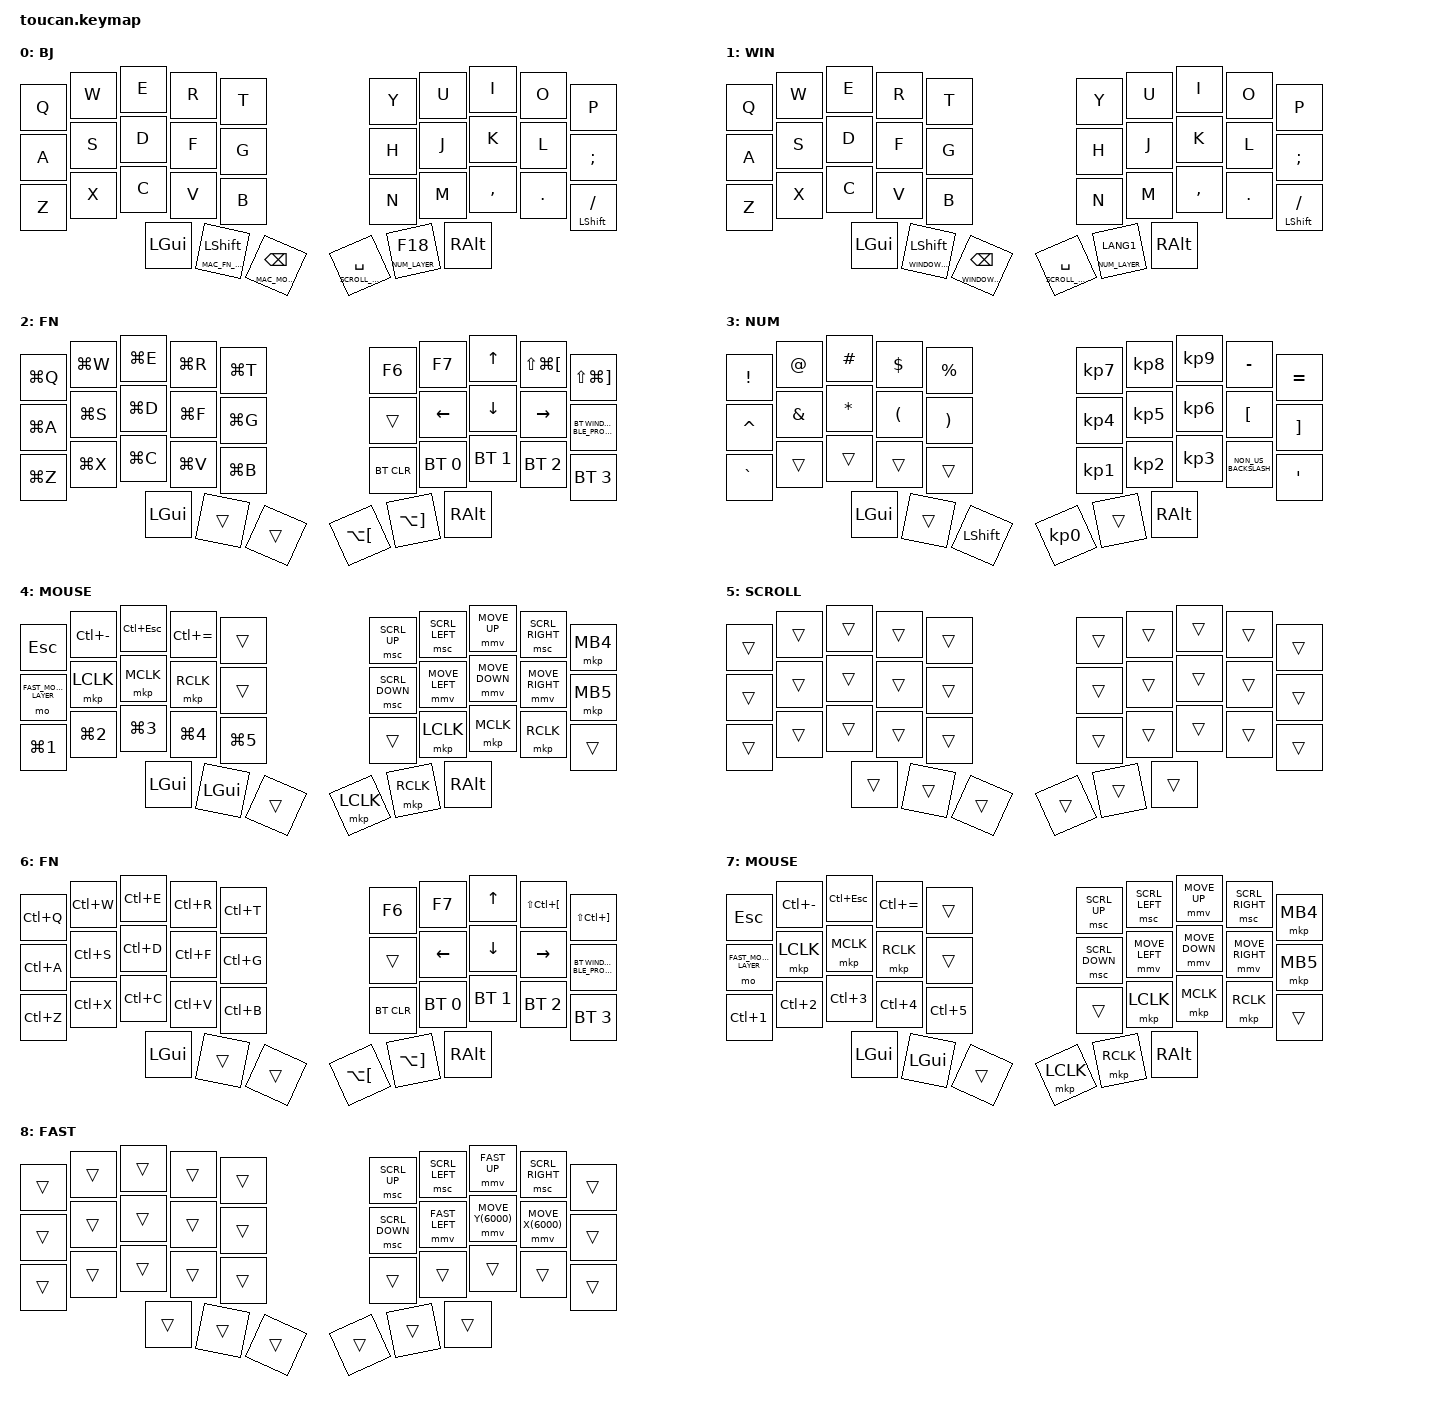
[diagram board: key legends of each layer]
// Mouse tuning values must be defined before the ZMK headers.
#define ZMK_POINTING_DEFAULT_MOVE_VAL 3500
#define ZMK_POINTING_DEFAULT_SCRL_VAL 15
#define FAST_UP    MOVE_Y(-6000)
#define FAST_DOWN  MOVE_Y(6000)
#define FAST_LEFT  MOVE_X(-6000)
#define FAST_RIGHT MOVE_X(6000)

#include <behaviors.dtsi>
#include <dt-bindings/zmk/bt.h>
#include <dt-bindings/zmk/keys.h>
#include <dt-bindings/zmk/pointing.h>

#define MAC_BASE_LAYER       0
#define WINDOWS_BASE_LAYER   1
#define MAC_FN_LAYER         2
#define NUM_LAYER            3
#define MAC_MOUSE_LAYER      4
#define SCROLL_LAYER         5
#define WINDOWS_FN_LAYER     6
#define WINDOWS_MOUSE_LAYER  7
#define FAST_MOUSE_LAYER     8

#define WINDOWS_BLE_PROFILE  4

&mmv {
    trigger-period-ms = <5>;
    acceleration-exponent = <1>;
    time-to-max-speed-ms = <400>;
    delay-ms = <0>;
};

&msc {
    trigger-period-ms = <8>;
    acceleration-exponent = <0>;
    time-to-max-speed-ms = <120>;
    delay-ms = <0>;
};

&mt {
    flavor = "balanced";
    tapping-term-ms = <180>;
    quick-tap-ms = <150>;
    require-prior-idle-ms = <125>;
};

/ {
    behaviors {
        lt_sk: layer_tap_sticky {
            compatible = "zmk,behavior-hold-tap";
            #binding-cells = <2>;
            tapping-term-ms = <200>;
            quick-tap-ms = <175>;
            flavor = "balanced";
            bindings = <&mo>, <&sk>;
        };

        lt_bspc: layer_tap_backspace {
            compatible = "zmk,behavior-hold-tap";
            #binding-cells = <2>;
            tapping-term-ms = <200>;
            quick-tap-ms = <200>;
            flavor = "tap-preferred";
            bindings = <&mo>, <&kp>;
        };
    };

    macros {
        mc_vim_save: mc_vim_save {
            compatible = "zmk,behavior-macro";
            #binding-cells = <0>;
            wait-ms = <10>;
            tap-ms = <10>;
            bindings = <&kp COLON &kp W &kp ENTER>;
        };

        mc_vim_qa: mc_vim_qa {
            compatible = "zmk,behavior-macro";
            #binding-cells = <0>;
            wait-ms = <10>;
            tap-ms = <10>;
            bindings = <&kp COLON &kp Q &kp A &kp ENTER>;
        };
    };

    /*
     * 36-key layout: 3x5 per half plus 3 thumbs per half.
     * Main key positions match the source cradio layout.
     */
    combos {
        compatible = "zmk,combos";

        combo_tab {
            timeout-ms = <50>;
            key-positions = <0 1>;
            bindings = <&kp TAB>;
        };

        combo_shift_tab {
            timeout-ms = <60>;
            key-positions = <1 2>;
            bindings = <&kp LS(TAB)>;
        };

        combo_enter {
            timeout-ms = <40>;
            key-positions = <16 18>;
            bindings = <&kp ENTER>;
        };

        AS_LCTRL {
            timeout-ms = <30>;
            layers = <MAC_BASE_LAYER WINDOWS_BASE_LAYER>;
            bindings = <&kp LCTRL>;
            key-positions = <10 11>;
        };

        SD_LGUI {
            timeout-ms = <30>;
            layers = <MAC_BASE_LAYER WINDOWS_BASE_LAYER>;
            bindings = <&kp LGUI>;
            key-positions = <11 12>;
        };

        DF_LSHFT {
            timeout-ms = <30>;
            layers = <MAC_BASE_LAYER WINDOWS_BASE_LAYER>;
            bindings = <&kp LSHFT>;
            key-positions = <12 13>;
        };

        FG_LALT {
            timeout-ms = <30>;
            layers = <MAC_BASE_LAYER WINDOWS_BASE_LAYER>;
            bindings = <&kp LALT>;
            key-positions = <13 14>;
        };

        JK_RCTRL {
            timeout-ms = <30>;
            layers = <MAC_BASE_LAYER WINDOWS_BASE_LAYER>;
            bindings = <&kp LCTRL>;
            key-positions = <16 17>;
        };

        KL_RGUI {
            timeout-ms = <30>;
            layers = <MAC_BASE_LAYER WINDOWS_BASE_LAYER>;
            bindings = <&kp LGUI>;
            key-positions = <17 18>;
        };

        LL_RSHFT {
            timeout-ms = <30>;
            layers = <MAC_BASE_LAYER WINDOWS_BASE_LAYER>;
            bindings = <&kp LSHFT>;
            key-positions = <18 19>;
        };

        combo_enter_nm {
            timeout-ms = <40>;
            layers = <MAC_BASE_LAYER WINDOWS_BASE_LAYER>;
            key-positions = <25 26>;
            bindings = <&kp ENTER>;
        };

        combo_vim_save {
            timeout-ms = <40>;
            layers = <MAC_BASE_LAYER WINDOWS_BASE_LAYER>;
            key-positions = <24 25>;
            bindings = <&mc_vim_save>;
        };

        combo_vim_qa {
            timeout-ms = <40>;
            layers = <MAC_BASE_LAYER WINDOWS_BASE_LAYER>;
            key-positions = <23 26>;
            bindings = <&mc_vim_qa>;
        };

        combo_screenshot {
            timeout-ms = <60>;
            layers = <MAC_BASE_LAYER>;
            key-positions = <1 2 3>;
            bindings = <&kp LG(LC(LS(N4)))>;
        };

        combo_screenshot_windows {
            timeout-ms = <60>;
            layers = <WINDOWS_BASE_LAYER>;
            key-positions = <1 2 3>;
            bindings = <&kp LG(LS(S))>;
        };

        combo_esc_wr {
            timeout-ms = <50>;
            layers = <MAC_BASE_LAYER WINDOWS_BASE_LAYER>;
            key-positions = <1 3>;
            bindings = <&kp ESC>;
        };

        combo_esc_rt {
            timeout-ms = <50>;
            layers = <MAC_BASE_LAYER WINDOWS_BASE_LAYER>;
            key-positions = <3 4>;
            bindings = <&kp ESC>;
        };

        combo_esc_yu {
            timeout-ms = <50>;
            layers = <MAC_BASE_LAYER WINDOWS_BASE_LAYER>;
            key-positions = <5 6>;
            bindings = <&kp ESC>;
        };

        combo_enter_vb {
            timeout-ms = <40>;
            layers = <MAC_BASE_LAYER WINDOWS_BASE_LAYER>;
            key-positions = <23 24>;
            bindings = <&kp ENTER>;
        };

        combo_caps_lock {
            timeout-ms = <60>;
            layers = <MAC_BASE_LAYER WINDOWS_BASE_LAYER>;
            key-positions = <20 21 22>;
            bindings = <&kp CAPSLOCK>;
        };

        combo_hold_cmd_shift {
            timeout-ms = <60>;
            layers = <MAC_BASE_LAYER>;
            key-positions = <16 17 18>;
            bindings = <&kp LS(LGUI)>;
        };

        combo_hold_ctrl_shift_windows {
            timeout-ms = <60>;
            layers = <WINDOWS_BASE_LAYER>;
            key-positions = <16 17 18>;
            bindings = <&kp LS(LCTRL)>;
        };

        chrome_developer_tool {
            layers = <MAC_BASE_LAYER>;
            bindings = <&kp LG(LA(I))>;
            key-positions = <27 28 29>;
        };

        chrome_developer_tool_windows {
            layers = <WINDOWS_BASE_LAYER>;
            bindings = <&kp LC(LS(I))>;
            key-positions = <27 28 29>;
        };
    };

    keymap {
        compatible = "zmk,keymap";

        default_layer {
            display-name = "BJ";
            bindings = <
&kp Q  &kp W  &kp E  &kp R           &kp T                   &kp Y      &kp U      &kp I      &kp O    &kp P
&kp A  &kp S  &kp D  &kp F           &kp G                   &kp H      &kp J      &kp K      &kp L    &kp SEMI
&kp Z  &kp X  &kp C  &kp V           &kp B                   &kp N      &kp M      &kp COMMA  &kp DOT  &mt LSHFT FSLH
              &kp LGUI  &lt_sk MAC_FN_LAYER LSHFT  &lt_bspc MAC_MOUSE_LAYER BACKSPACE    &lt SCROLL_LAYER SPACE  &lt NUM_LAYER F18  &kp RALT
            >;
        };

        windows_layer {
            display-name = "WIN";
            bindings = <
&kp Q  &kp W  &kp E  &kp R           &kp T                   &kp Y      &kp U      &kp I      &kp O    &kp P
&kp A  &kp S  &kp D  &kp F           &kp G                   &kp H      &kp J      &kp K      &kp L    &kp SEMI
&kp Z  &kp X  &kp C  &kp V           &kp B                   &kp N      &kp M      &kp COMMA  &kp DOT  &mt LSHFT FSLH
              &kp LGUI  &lt_sk WINDOWS_FN_LAYER LSHFT  &lt_bspc WINDOWS_MOUSE_LAYER BACKSPACE    &lt SCROLL_LAYER SPACE  &lt NUM_LAYER LANG1  &kp RALT
            >;
        };

        fn_layer {
            display-name = "FN";
            bindings = <
&kp LG(Q)  &kp LG(W)  &kp LG(E)  &kp LG(R)  &kp LG(T)    &kp F6      &kp F7        &kp UP_ARROW  &kp LS(LG(LBKT))  &kp LS(LG(RBKT))
&kp LG(A)  &kp LG(S)  &kp LG(D)  &kp LG(F)  &kp LG(G)    &trans      &kp LEFT      &kp DOWN      &kp RIGHT         &bt BT_SEL WINDOWS_BLE_PROFILE
&kp LG(Z)  &kp LG(X)  &kp LG(C)  &kp LG(V)  &kp LG(B)    &bt BT_CLR  &bt BT_SEL 0  &bt BT_SEL 1  &bt BT_SEL 2      &bt BT_SEL 3
                      &kp LGUI   &trans     &trans       &kp LA(LBKT)  &kp LA(RBKT)  &kp RALT
            >;
        };

        num_layer {
            display-name = "NUM";
            bindings = <
&kp EXCL   &kp AT         &kp HASH      &kp DLLR              &kp PRCNT                &kp KP_NUMBER_7  &kp KP_NUMBER_8  &kp KP_NUMBER_9  &kp MINUS             &kp EQUAL
&kp CARET  &kp AMPERSAND  &kp ASTERISK  &kp LEFT_PARENTHESIS  &kp RIGHT_PARENTHESIS    &kp KP_NUMBER_4  &kp KP_NUMBER_5  &kp KP_NUMBER_6  &kp LEFT_BRACKET      &kp RIGHT_BRACKET
&kp GRAVE  &trans         &trans        &trans                &trans                   &kp KP_NUMBER_1  &kp KP_NUMBER_2  &kp KP_NUMBER_3  &kp NON_US_BACKSLASH  &kp SINGLE_QUOTE
                         &kp LGUI      &trans                &kp LEFT_SHIFT           &kp KP_NUMBER_0  &trans              &kp RALT
            >;
        };

        mouse_layer {
            display-name = "MOUSE";
            bindings = <
&kp ESC     &kp LC(MINUS)  &kp LC(ESCAPE)  &kp LC(EQUAL)  &trans       &msc SCRL_UP    &msc SCRL_LEFT  &mmv MOVE_UP    &msc SCRL_RIGHT  &mkp MB4
&mo FAST_MOUSE_LAYER  &mkp LCLK      &mkp MCLK       &mkp RCLK      &trans       &msc SCRL_DOWN  &mmv MOVE_LEFT  &mmv MOVE_DOWN  &mmv MOVE_RIGHT  &mkp MB5
&kp LG(N1)  &kp LG(N2)     &kp LG(N3)      &kp LG(N4)     &kp LG(N5)   &trans          &mkp LCLK       &mkp MCLK       &mkp RCLK        &trans
                          &kp LGUI        &kp LGUI       &trans       &mkp LCLK       &mkp RCLK       &kp RALT
            >;
        };

        scroll_layer {
            display-name = "SCROLL";
            bindings = <
&trans  &trans  &trans  &trans  &trans    &trans  &trans  &trans  &trans  &trans
&trans  &trans  &trans  &trans  &trans    &trans  &trans  &trans  &trans  &trans
&trans  &trans  &trans  &trans  &trans    &trans  &trans  &trans  &trans  &trans
                &trans  &trans  &trans    &trans  &trans  &trans
            >;
        };

        windows_fn_layer {
            display-name = "FN";
            bindings = <
&kp LC(Q)  &kp LC(W)  &kp LC(E)  &kp LC(R)  &kp LC(T)    &kp F6      &kp F7        &kp UP_ARROW  &kp LS(LC(LBKT))  &kp LS(LC(RBKT))
&kp LC(A)  &kp LC(S)  &kp LC(D)  &kp LC(F)  &kp LC(G)    &trans      &kp LEFT      &kp DOWN      &kp RIGHT         &bt BT_SEL WINDOWS_BLE_PROFILE
&kp LC(Z)  &kp LC(X)  &kp LC(C)  &kp LC(V)  &kp LC(B)    &bt BT_CLR  &bt BT_SEL 0  &bt BT_SEL 1  &bt BT_SEL 2      &bt BT_SEL 3
                      &kp LGUI   &trans     &trans       &kp LA(LBKT)  &kp LA(RBKT)  &kp RALT
            >;
        };

        windows_mouse_layer {
            display-name = "MOUSE";
            bindings = <
&kp ESC     &kp LC(MINUS)  &kp LC(ESCAPE)  &kp LC(EQUAL)  &trans       &msc SCRL_UP    &msc SCRL_LEFT  &mmv MOVE_UP    &msc SCRL_RIGHT  &mkp MB4
&mo FAST_MOUSE_LAYER  &mkp LCLK      &mkp MCLK       &mkp RCLK      &trans       &msc SCRL_DOWN  &mmv MOVE_LEFT  &mmv MOVE_DOWN  &mmv MOVE_RIGHT  &mkp MB5
&kp LC(N1)  &kp LC(N2)     &kp LC(N3)      &kp LC(N4)     &kp LC(N5)   &trans          &mkp LCLK       &mkp MCLK       &mkp RCLK        &trans
                          &kp LGUI        &kp LGUI       &trans       &mkp LCLK       &mkp RCLK       &kp RALT
            >;
        };

        fast_mouse_layer {
            display-name = "FAST";
            bindings = <
&trans  &trans  &trans  &trans  &trans    &msc SCRL_UP    &msc SCRL_LEFT  &mmv FAST_UP    &msc SCRL_RIGHT  &trans
&trans  &trans  &trans  &trans  &trans    &msc SCRL_DOWN  &mmv FAST_LEFT  &mmv FAST_DOWN  &mmv FAST_RIGHT  &trans
&trans  &trans  &trans  &trans  &trans    &trans          &trans          &trans          &trans           &trans
                &trans  &trans  &trans    &trans          &trans          &trans
            >;
        };
    };
};
